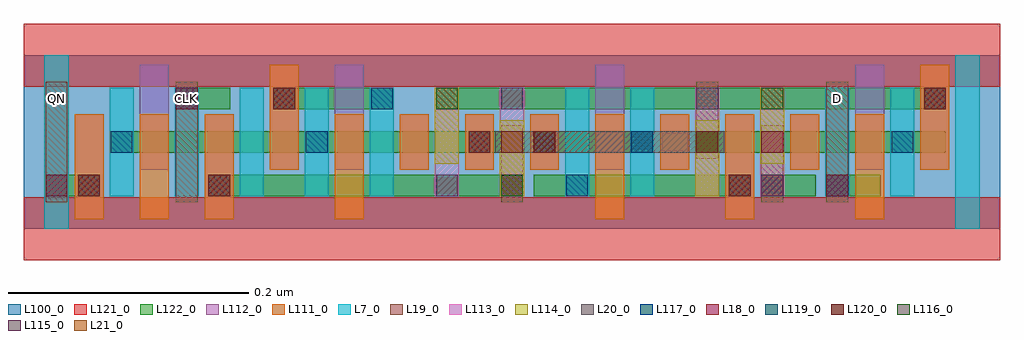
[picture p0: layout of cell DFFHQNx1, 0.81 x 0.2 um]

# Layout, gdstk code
import gdstk
lib = gdstk.Library(unit=1e-6, precision=2.5e-10)
def R(c, l, rs):  # rectangles x0, y0, x1, y1
    for r in rs: c.add(gdstk.rectangle(r[:2], r[2:], *l))
def A(c, l, x, y, w, h, nx, ny, dx, dy):  # array of equal rectangles
    R(c, l, [(x+i*dx, y+j*dy, x+i*dx+w, y+j*dy+h) for i in range(nx) for j in range(ny)])
L7_0 = (7, 0)
L18_0 = (18, 0)
L19_0 = (19, 0)
L20_0 = (20, 0)
L21_0 = (21, 0)
L100_0 = (100, 0)
L111_0 = (111, 0)
L112_0 = (112, 0)
L113_0 = (113, 0)
L114_0 = (114, 0)
L115_0 = (115, 0)
L116_0 = (116, 0)
L117_0 = (117, 0)
L119_0 = (119, 0)
L120_0 = (120, 0)
L121_0 = (121, 0)
L122_0 = (122, 0)

dffhqnx1 = lib.new_cell('DFFHQNx1')
A(dffhqnx1, L7_0, 0.071, 0.027, 0.02, 0.09, 5, 1, 0.054, 0)
R(dffhqnx1, L7_0, [(0.017,0,0.037,0.144), (0.773,0,0.793,0.144), (0.449,0.027,0.469,0.117), (0.503,0.027,0.523,0.117), (0.665,0.027,0.685,0.117), (0.719,0.027,0.739,0.117)])
R(dffhqnx1, L18_0, [(0.018,0.027,0.036,0.045), (0.396,0.027,0.414,0.045), (0.612,0.027,0.63,0.045), (0.666,0.027,0.684,0.045), (0.558,0.063,0.576,0.081), (0.612,0.063,0.63,0.081), (0.126,0.099,0.144,0.117)])
R(dffhqnx1, L19_0, [(0.018,0.022,0.036,0.122), (0.126,0.022,0.144,0.122), (0.396,0.022,0.414,0.086), (0.612,0.022,0.63,0.086), (0.666,0.022,0.684,0.122), (0.558,0.058,0.576,0.122)])
R(dffhqnx1, L20_0, [(0.391,0.063,0.581,0.081)])
R(dffhqnx1, L21_0, [(0.396,0.063,0.414,0.081), (0.558,0.063,0.576,0.081)])
R(dffhqnx1, L100_0, [(0,0,0.81,0.144)])
A(dffhqnx1, L111_0, 0.042, 0.008, 0.024, 0.087, 3, 1, 0.054, 0)
A(dffhqnx1, L111_0, 0.474, 0.008, 0.024, 0.087, 3, 1, 0.108, 0)
A(dffhqnx1, L111_0, 0.312, 0.049, 0.024, 0.046, 3, 1, 0.054, 0)
R(dffhqnx1, L111_0, [(0.258,0.008,0.282,0.095), (0.204,0.049,0.228,0.136), (0.528,0.049,0.552,0.095), (0.636,0.049,0.66,0.095), (0.744,0.049,0.768,0.136)])
A(dffhqnx1, L112_0, 0.258, 0.049, 0.024, 0.087, 3, 1, 0.216, 0)
A(dffhqnx1, L112_0, 0.312, 0.049, 0.024, 0.046, 3, 1, 0.054, 0)
R(dffhqnx1, L112_0, [(0.042,0.008,0.066,0.095), (0.15,0.008,0.174,0.095), (0.582,0.008,0.606,0.095), (0.096,0.049,0.12,0.136), (0.204,0.049,0.228,0.136), (0.528,0.049,0.552,0.095), (0.636,0.049,0.66,0.095), (0.744,0.049,0.768,0.136)])
R(dffhqnx1, L113_0, [(0.341,0.027,0.361,0.117), (0.395,0.027,0.415,0.117), (0.557,0.027,0.577,0.117), (0.611,0.027,0.631,0.117)])
R(dffhqnx1, L114_0, [(0.395,0.027,0.415,0.09), (0.557,0.027,0.577,0.09), (0.341,0.054,0.361,0.117), (0.611,0.054,0.631,0.117)])
R(dffhqnx1, L115_0, [(0.342,0.027,0.36,0.045), (0.612,0.027,0.63,0.045), (0.396,0.099,0.414,0.117), (0.558,0.099,0.576,0.117)])
R(dffhqnx1, L116_0, [(0.396,0.027,0.414,0.045), (0.558,0.063,0.576,0.081), (0.342,0.099,0.36,0.117), (0.612,0.099,0.63,0.117)])
R(dffhqnx1, L117_0, [(0.45,0.027,0.468,0.045), (0.666,0.027,0.684,0.045), (0.072,0.063,0.09,0.081), (0.234,0.063,0.252,0.081), (0.504,0.063,0.522,0.081), (0.72,0.063,0.738,0.081), (0.126,0.099,0.144,0.117), (0.288,0.099,0.306,0.117)])
R(dffhqnx1, L119_0, [(0.045,0.027,0.063,0.045), (0.153,0.027,0.171,0.045), (0.585,0.027,0.603,0.045), (0.369,0.063,0.387,0.081), (0.423,0.063,0.441,0.081), (0.207,0.099,0.225,0.117), (0.747,0.099,0.765,0.117)])
R(dffhqnx1, L120_0, [(0.045,0.027,0.063,0.045), (0.153,0.027,0.171,0.045), (0.585,0.027,0.603,0.045), (0.369,0.063,0.387,0.081), (0.423,0.063,0.441,0.081), (0.207,0.099,0.225,0.117), (0.747,0.099,0.765,0.117)])
R(dffhqnx1, L121_0, [(0,-0.026,0.81,0.026), (0,0.118,0.81,0.17)])
R(dffhqnx1, L122_0, [(0.018,0.027,0.063,0.045), (0.153,0.027,0.414,0.045), (0.423,0.027,0.603,0.045), (0.612,0.027,0.657,0.045), (0.666,0.027,0.711,0.045), (0.072,0.063,0.414,0.081), (0.423,0.063,0.522,0.081), (0.558,0.063,0.765,0.081), (0.126,0.099,0.171,0.117), (0.207,0.099,0.306,0.117), (0.342,0.099,0.765,0.117)])
dffhqnx1.add(gdstk.Label('QN', (0.027,0.108), layer=19, texttype=251))
dffhqnx1.add(gdstk.Label('D', (0.675,0.108), layer=19, texttype=251))
dffhqnx1.add(gdstk.Label('CLK', (0.135,0.108), layer=19, texttype=251))

lib.write_gds('DFFHQNx1.gds')
